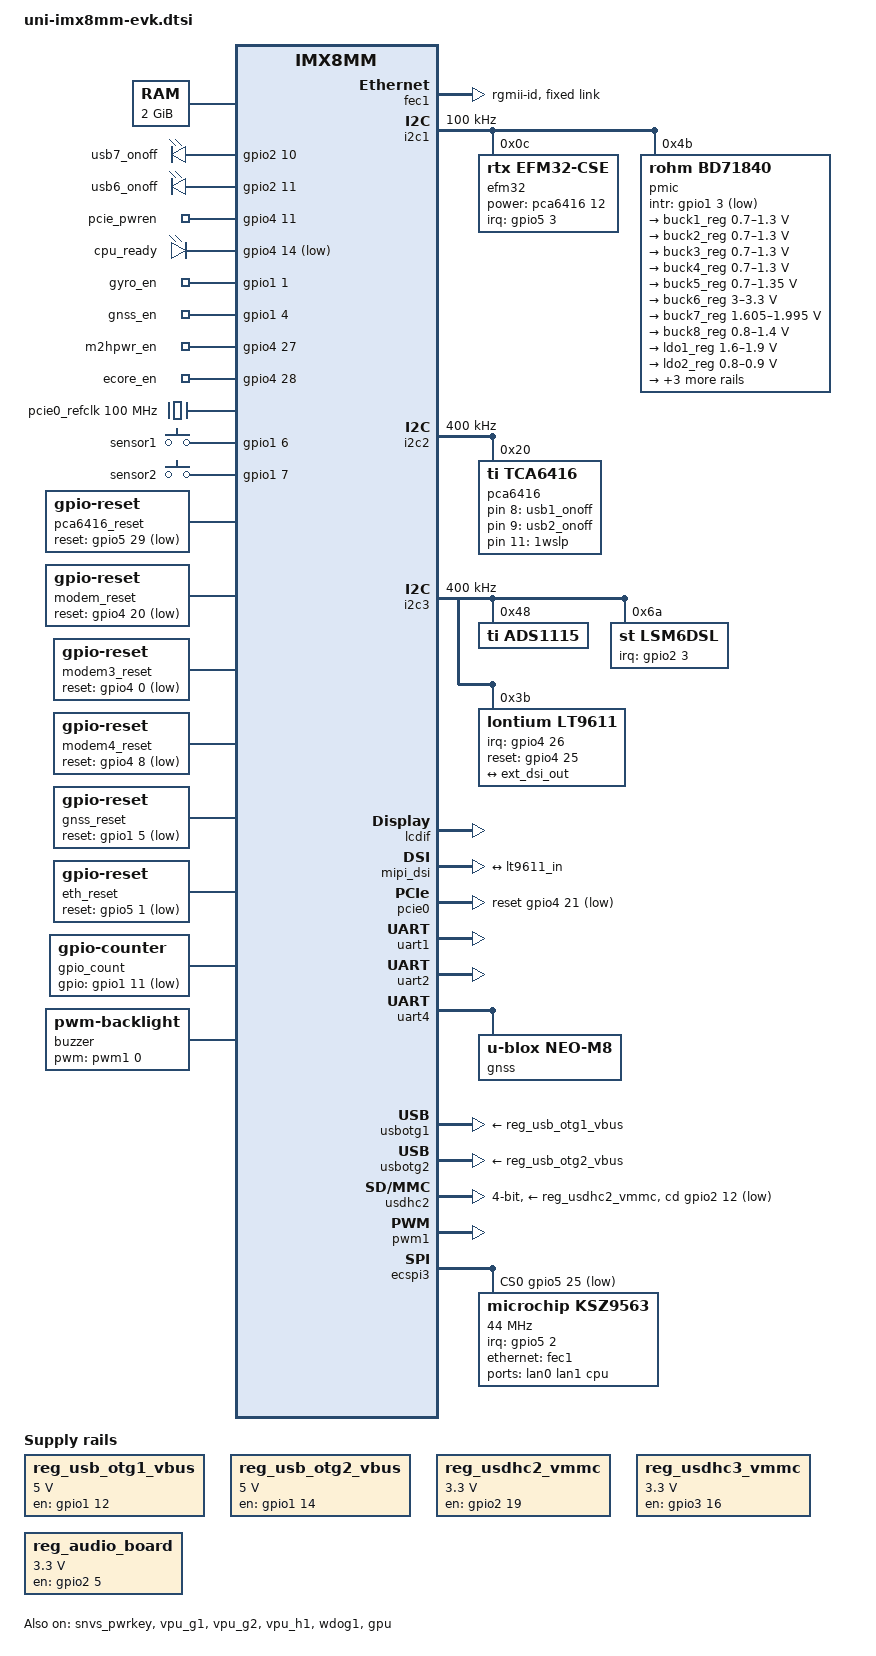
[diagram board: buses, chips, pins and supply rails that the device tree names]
// SPDX-License-Identifier: (GPL-2.0+ OR MIT)
/*
 * Copyright 2020 NXP
 */

/dts-v1/;

#include <dt-bindings/usb/pd.h>
#include "uni-imx8mm.dtsi"

/ {
	chosen {
		bootargs = "console=ttymxc1,115200 earlycon=ec_imx6q,0x30890000,115200";
		stdout-path = &uart2;
	};

	memory@40000000 {
		device_type = "memory";
		reg = <0x0 0x40000000 0 0x80000000>;
	};

	leds {
		compatible = "gpio-leds";
		pinctrl-names = "default";
		pinctrl-0 = <&pinctrl_gpio_led>;

		usb1_onoff {
			label = "usb1_onoff";
			gpios = <&pca6416 8 GPIO_ACTIVE_HIGH>;
			default-state = "on";
		};

		usb2_onoff {
			label = "usb2_onoff";
			gpios = <&pca6416 9 GPIO_ACTIVE_HIGH>;
			default-state = "on";
		};

		1wslp {
			label = "1wslp";
			gpios = <&pca6416 11 GPIO_ACTIVE_HIGH>;
			default-state = "on";
		};

		usb7_onoff {
			label = "usb7_onoff";
			gpios = <&gpio2 10 GPIO_ACTIVE_HIGH>;
			default-state = "on";
		};

		usb6_onoff {
			label = "usb6_onoff";
			gpios = <&gpio2 11 GPIO_ACTIVE_HIGH>;
			default-state = "on";
		};

		pcie_pwren {
			label = "pcie_pwren";
			gpios = <&gpio4 11 GPIO_ACTIVE_HIGH>;
			default-state = "on";
		};

		cpu_ready {
			label = "cpu_ready";
			gpios = <&gpio4 14 GPIO_ACTIVE_LOW>;
			default-state = "on";
		};

		gyro_en {
			label = "gyro_en";
			gpios = <&gpio1 1 GPIO_ACTIVE_HIGH>;
			default-state = "on";
		};

		gnss_en {
			label = "gnss_en";
			gpios = <&gpio1 4 GPIO_ACTIVE_HIGH>;
			default-state = "on";
		};

		m2hpwr_en {
			label = "m2hpwr_en";
			gpios = <&gpio4 27 GPIO_ACTIVE_HIGH>;
			default-state = "on";
		};

		ecore_en {
			label = "ecore_en";
			gpios = <&gpio4 28 GPIO_ACTIVE_HIGH>;
			default-state = "on";
		};
	};

	pcie0_refclk: pcie0-refclk {
		compatible = "fixed-clock";
		#clock-cells = <0>;
		clock-frequency = <100000000>;
	};

	wakeup_gpio1 {
		compatible = "gpio-keys";
		sensor1 {
			label = "sensor1";
			gpios = <&gpio1 6 GPIO_ACTIVE_HIGH>;
			linux,code = <KEY_POWER>;
			gpio-key,wakeup;
			linux,can-disable;
		};
	};

	wakeup_gpio2 {
		compatible = "gpio-keys";
		sensor2 {
			label = "sensor2";
			gpios = <&gpio1 7 GPIO_ACTIVE_HIGH>;
			linux,code = <KEY_POWER>;
			gpio-key,wakeup;
			linux,can-disable;
		};
	};

	pca6416_reset: pca6416-reset {
		compatible = "gpio-reset";
		reset-gpios = <&gpio5 29 GPIO_ACTIVE_LOW>;
		reset-delay-us = <2000>;
		reset-post-delay-ms = <40>;
		#reset-cells = <0>;
	};

	modem_reset: modem-reset {
		compatible = "gpio-reset";
		reset-gpios = <&gpio4 20 GPIO_ACTIVE_LOW>;
		reset-delay-us = <2000>;
		reset-post-delay-ms = <40>;
		#reset-cells = <0>;
	};

	modem3_reset: modem3-reset {
		compatible = "gpio-reset";
		reset-gpios = <&gpio4 0 GPIO_ACTIVE_LOW>;
		reset-delay-us = <2000>;
		reset-post-delay-ms = <40>;
		#reset-cells = <0>;
	};

	modem4_reset: modem4-reset {
		compatible = "gpio-reset";
		reset-gpios = <&gpio4 8 GPIO_ACTIVE_LOW>;
		reset-delay-us = <2000>;
		reset-post-delay-ms = <40>;
		#reset-cells = <0>;
	};

	gnss_reset: gnss-reset {
		compatible = "gpio-reset";
		reset-gpios = <&gpio1 5 GPIO_ACTIVE_LOW>;
		reset-delay-us = <2000>;
		reset-post-delay-ms = <40>;
		#reset-cells = <0>;
	};

	eth_reset: eth-reset {
		compatible = "gpio-reset";
		reset-gpios = <&gpio5 1 GPIO_ACTIVE_LOW>;
		reset-delay-us = <2000>;
		reset-post-delay-ms = <40>;
		#reset-cells = <0>;
	};

	regulators {
		compatible = "simple-bus";
		#address-cells = <1>;
		#size-cells = <0>;

		reg_usb_otg1_vbus: regulator@0 {
			compatible = "regulator-fixed";
			pinctrl-0 = <&pinctrl_usbotg1pwrgrp>;
			reg = <0>;
			regulator-name = "usb_otg1_vbus";
			regulator-min-microvolt = <5000000>;
			regulator-max-microvolt = <5000000>;
			gpio = <&gpio1 12 GPIO_ACTIVE_HIGH>;
			enable-active-high;
		};

		reg_usb_otg2_vbus: regulator@1 {
			compatible = "regulator-fixed";
			pinctrl-0 = <&pinctrl_usbotg2pwrgrp>;
			reg = <0>;
			regulator-name = "usb_otg2_vbus";
			regulator-min-microvolt = <5000000>;
			regulator-max-microvolt = <5000000>;
			gpio = <&gpio1 14 GPIO_ACTIVE_HIGH>;
			enable-active-high;
		};

		reg_usdhc2_vmmc: regulator-usdhc2 {
			compatible = "regulator-fixed";
			regulator-name = "VSD_3V3";
			regulator-min-microvolt = <3300000>;
			regulator-max-microvolt = <3300000>;
			gpio = <&gpio2 19 GPIO_ACTIVE_HIGH>;
			off-on-delay = <20000>;
			enable-active-high;
		};

		reg_usdhc3_vmmc: regulator-usdhc3 {
			compatible = "regulator-fixed";
			regulator-name = "VSD_3V3";
			regulator-min-microvolt = <3300000>;
			regulator-max-microvolt = <3300000>;
			gpio = <&gpio3 16 GPIO_ACTIVE_HIGH>;
			off-on-delay = <20000>;
			enable-active-high;
		};

		reg_audio_board: regulator-audio-board {
			compatible = "regulator-fixed";
			regulator-name = "EXT_PWREN";
			regulator-min-microvolt = <3300000>;
			regulator-max-microvolt = <3300000>;
			enable-active-high;
			startup-delay-us = <300000>;
			gpio = <&gpio2 5 GPIO_ACTIVE_HIGH>;
		};
	};

	gpio_count: counter {
		compatible = "gpio-counter";
		gpios = <&gpio1 11 GPIO_ACTIVE_LOW>;
		debounce-delay-us = <100>;
		/*pinctrl-0 = <&pinctrl_gpio_count>;*/
	};

	sound-micfil {
		compatible = "fsl,imx-audio-micfil";
		model = "imx-audio-micfil";
		cpu-dai = <&micfil>;
	};

	buzzer {
		compatible = "pwm-backlight";
		pwms = <&pwm1 0 366300>;
		brightness-levels = <0 128 255>;
		default-brightness-level = <0>;
	};
};

&A53_0 {
	cpu-supply = <&buck2_reg>;
};

&A53_1 {
	cpu-supply = <&buck2_reg>;
};

&A53_2 {
	cpu-supply = <&buck2_reg>;
};

&A53_3 {
	cpu-supply = <&buck2_reg>;
};

&fec1 {
	pinctrl-names = "default";
	pinctrl-0 = <&pinctrl_fec1>;
	phy-mode = "rgmii-id";
	fsl,magic-packet;
	status = "okay";

	fixed-link {
		speed = <1000>;
		full-duplex;
	};
};

&i2c1 {
	clock-frequency = <100000>;
	pinctrl-names = "default";
	pinctrl-0 = <&pinctrl_i2c1>;
	status = "okay";

	efm32: rtx-efm32@c {
		compatible = "rtx,efm32-cse";
		pinctrl-names = "default";
		pinctrl-0 = <&pinctrl_efm32>;
		reg = <0x0c>;
  		interrupt-parent = <&gpio5>;
  		interrupts = <3 IRQ_TYPE_EDGE_RISING>;
		gpio-power = <&pca6416 12 GPIO_ACTIVE_HIGH>;
	};

	pmic: bd71837@4b {
		reg = <0x4b>;
		compatible = "rohm,bd71840", "rohm,bd71837";
		/* PMIC BD71837 PMIC_nINT GPIO1_IO3 */
		pinctrl-0 = <&pinctrl_pmic>;
		gpio_intr = <&gpio1 3 GPIO_ACTIVE_LOW>;

		gpo {
			rohm,drv = <0x0C>;	/* 0b0000_1100 all gpos with cmos output mode */
		};

		regulators {
			#address-cells = <1>;
			#size-cells = <0>;

			bd71837,pmic-buck2-uses-i2c-dvs;
			bd71837,pmic-buck2-dvs-voltage = <1000000>, <900000>, <0>; /* VDD_ARM: Run-Idle */

			buck1_reg: regulator@0 {
				reg = <0>;
				regulator-compatible = "buck1";
				regulator-min-microvolt = <700000>;
				regulator-max-microvolt = <1300000>;
				regulator-boot-on;
				regulator-always-on;
				regulator-ramp-delay = <1250>;
			};

			buck2_reg: regulator@1 {
				reg = <1>;
				regulator-compatible = "buck2";
				regulator-min-microvolt = <700000>;
				regulator-max-microvolt = <1300000>;
				regulator-boot-on;
				regulator-always-on;
				regulator-ramp-delay = <1250>;
			};

			buck3_reg: regulator@2 {
				reg = <2>;
				regulator-compatible = "buck3";
				regulator-min-microvolt = <700000>;
				regulator-max-microvolt = <1300000>;
			};

			buck4_reg: regulator@3 {
				reg = <3>;
				regulator-compatible = "buck4";
				regulator-min-microvolt = <700000>;
				regulator-max-microvolt = <1300000>;
			};

			buck5_reg: regulator@4 {
				reg = <4>;
				regulator-compatible = "buck5";
				regulator-min-microvolt = <700000>;
				regulator-max-microvolt = <1350000>;
				regulator-boot-on;
				regulator-always-on;
			};

			buck6_reg: regulator@5 {
				reg = <5>;
				regulator-compatible = "buck6";
				regulator-min-microvolt = <3000000>;
				regulator-max-microvolt = <3300000>;
				regulator-boot-on;
				regulator-always-on;
			};

			buck7_reg: regulator@6 {
				reg = <6>;
				regulator-compatible = "buck7";
				regulator-min-microvolt = <1605000>;
				regulator-max-microvolt = <1995000>;
				regulator-boot-on;
				regulator-always-on;
			};

			buck8_reg: regulator@7 {
				reg = <7>;
				regulator-compatible = "buck8";
				regulator-min-microvolt = <800000>;
				regulator-max-microvolt = <1400000>;
				regulator-boot-on;
				regulator-always-on;
			};

			ldo1_reg: regulator@8 {
				reg = <8>;
				regulator-compatible = "ldo1";
				regulator-min-microvolt = <1600000>;
				regulator-max-microvolt = <1900000>;
				regulator-boot-on;
				regulator-always-on;
			};

			ldo2_reg: regulator@9 {
				reg = <9>;
				regulator-compatible = "ldo2";
				regulator-min-microvolt = <800000>;
				regulator-max-microvolt = <900000>;
				regulator-boot-on;
				regulator-always-on;
			};

			ldo3_reg: regulator@10 {
				reg = <10>;
				regulator-compatible = "ldo3";
				regulator-min-microvolt = <1800000>;
				regulator-max-microvolt = <3300000>;
				regulator-boot-on;
				regulator-always-on;
			};

			ldo4_reg: regulator@11 {
				reg = <11>;
				regulator-compatible = "ldo4";
				regulator-min-microvolt = <900000>;
				regulator-max-microvolt = <1800000>;
				regulator-boot-on;
				regulator-always-on;
			};

			ldo6_reg: regulator@13 {
				reg = <13>;
				regulator-compatible = "ldo6";
				regulator-min-microvolt = <900000>;
				regulator-max-microvolt = <1800000>;
				regulator-boot-on;
				regulator-always-on;
			};
		};
	};
};

&i2c2 {
	clock-frequency = <400000>;
	pinctrl-names = "default";
	pinctrl-0 = <&pinctrl_i2c2>;
	status = "okay";

	pca6416: gpio@20 {
		compatible = "ti,tca6416";
		pinctrl-0 = <&pinctrl_pca6416>;
		reg = <0x20>;
		gpio-controller;
		#gpio-cells = <2>;
	};
/*
	i2c_ksz9563: ksz9563@5f {
		compatible = "microchip,ksz9563";
		reg = <0x5f>;
		phy-mode = "rgmii-id";

		interrupt-parent = <&gpio5>;
		interrupts = <2 IRQ_TYPE_LEVEL_LOW>;
		status = "okay";
		ports {
			#address-cells = <1>;
			#size-cells = <0>;
			port@0 {
				reg = <0>;
				label = "lan0";
			};
			port@1 {
				reg = <1>;
				label = "lan1";
			};
			port@2 {
				reg = <2>;
				label = "cpu";
				ethernet = <&fec1>;
				fixed-link {
					speed = <1000>;
					full-duplex;
				};
			};
		};
	};
*/
};

&i2c3 {
	clock-frequency = <400000>;
	pinctrl-names = "default";
	pinctrl-0 = <&pinctrl_i2c3>;
	status = "okay";

	ads1115: ads1115@48 {
		compatible = "ti,ads1115";
		pinctrl-names = "default";
		pinctrl-0 = <&pinctrl_ads1115>;
		reg = <0x48>;
		#address-cells = <1>;
		#size-cells = <0>;

		channel@0 {
			reg = <0>;
			ti,gain = <2>;
			ti,datarate = <2>;
                };
		channel@1 {
			reg = <1>;
			ti,gain = <2>;
			ti,datarate = <2>;
		};                
		channel@2 {
			reg = <2>;
			ti,gain = <2>;
			ti,datarate = <2>;
		};     
		channel@3 {
			reg = <3>;
 			ti,gain = <2>;
			ti,datarate = <2>;
		};  
	};

  	lsm6dsl@6a {
  		compatible = "st,lsm6dsl";
		pinctrl-names = "default";
		pinctrl-0 = <&pinctrl_gyro>;
  		reg = <0x6a>;
  		interrupt-parent = <&gpio2>;
  		interrupts = <3 IRQ_TYPE_EDGE_RISING>;
 	};

	lt9611: lt,lt9611@3b {
		compatible = "lontium,lt9611";
		pinctrl-names = "default";
		pinctrl-0 = <&pinctrl_lt9611>;
		reg = <0x3b>;
		interrupt-parent = <&gpio4>;
		interrupts = <26 IRQ_TYPE_LEVEL_LOW>;
		instance_id = <0>;

		lt,irq-gpio = <&gpio4 26 0x0>;
		lt,reset-gpio = <&gpio4 25 0x0>;
		lt,non-pluggable;
		lt,preferred-mode = "1920x1080";

		lt,customize-modes {
			lt,customize-mode-id@0 {
				lt,mode-h-active = <1920>;
				lt,mode-h-front-porch = <88>;
				lt,mode-h-pulse-width = <44>;
				lt,mode-h-back-porch = <148>;
				lt,mode-h-active-high;
				lt,mode-v-active = <1080>;
				lt,mode-v-front-porch = <4>;
				lt,mode-v-pulse-width = <5>;
				lt,mode-v-back-porch = <36>;
				lt,mode-v-active-high;
				lt,mode-refresh-rate = <60>;
				lt,mode-clock-in-khz = <148500>;
			};
		};

		port@1 {
			lt9611_in: endpoint {
				remote-endpoint = <&ext_dsi_out>;
			};
		};

	};

};

&lcdif {
       status = "okay";
};

&micfil {
	pinctrl-names = "default";
	pinctrl-0 = <&pinctrl_pdm>;
	status = "disable";
};

&mipi_dsi {
	status = "okay";

	port@1 {
		ext_dsi_out: endpoint {
			remote-endpoint = <&lt9611_in>;
		};
	};
};

&pcie0{
	pinctrl-names = "default";
	pinctrl-0 = <&pinctrl_pcie0>;
	disable-gpio = <&gpio1 5 GPIO_ACTIVE_LOW>;
	reset-gpio = <&gpio4 21 GPIO_ACTIVE_LOW>;
	clocks = <&clk IMX8MM_CLK_PCIE1_ROOT>,
		 <&clk IMX8MM_CLK_PCIE1_AUX>,
		 <&clk IMX8MM_CLK_PCIE1_PHY>,
		 <&pcie0_refclk>;
	clock-names = "pcie", "pcie_aux", "pcie_phy", "pcie_bus";
	assigned-clocks = <&clk IMX8MM_CLK_PCIE1_AUX>,
			  <&clk IMX8MM_CLK_PCIE1_PHY>,
			  <&clk IMX8MM_CLK_PCIE1_CTRL>;
	assigned-clock-rates = <10000000>, <100000000>, <250000000>;
	assigned-clock-parents = <&clk IMX8MM_SYS_PLL2_50M>,
				 <&clk IMX8MM_SYS_PLL2_100M>,
				 <&clk IMX8MM_SYS_PLL2_250M>;
	ext_osc = <1>;
	status = "okay";
};

&sai5 {
	pinctrl-names = "default";
	pinctrl-0 = <&pinctrl_sai5>;
	clocks = <&clk IMX8MM_CLK_SAI5_IPG>, <&clk IMX8MM_CLK_DUMMY>,
		<&clk IMX8MM_CLK_SAI5_ROOT>, <&clk IMX8MM_CLK_DUMMY>,
		<&clk IMX8MM_CLK_DUMMY>, <&clk IMX8MM_AUDIO_PLL1_OUT>,
		<&clk IMX8MM_AUDIO_PLL2_OUT>;
	clock-names = "bus", "mclk0", "mclk1", "mclk2", "mclk3", "pll8k", "pll11k";
	fsl,sai-asynchronous;
	status = "disabled";
};

&snvs_pwrkey {
	status = "okay";
};

&uart1 {
	pinctrl-names = "default", "rs422";
	pinctrl-0 = <&pinctrl_uart1_rs232 &pinctrl_uart1_ctrl>;
	pinctrl-1 = <&pinctrl_uart1_rs422 &pinctrl_uart1_ctrl>;
	resets = <&modem_reset>;
/*    	fsl,dte-mode;	*/
	fsl,uart-has-rtscts;
	fsl,sp339e;
	fsl,sp339e-m0     = <&gpio4 4 0> ;
	fsl,sp339e-m1     = <&gpio4 5 0> ;
	fsl,sp339e-tm     = <&gpio4 10 0> ;
	fsl,sp339e-dir    = <&gpio4 24 0> ;
	status = "okay";
};

&uart2 { /* console */
	pinctrl-names = "default";
	pinctrl-0 = <&pinctrl_uart2>;
	status = "okay";
};

&uart4 {
	pinctrl-names = "default";
	pinctrl-0 = <&pinctrl_uart4_rs232>;
	status = "okay";
	/*resets = <&gnss_reset>;*/
	gnss {
		compatible = "u-blox,neo-m8";
		current-speed = <9600>;
/*		ubx_data,green_led = <&pca6416 4 GPIO_ACTIVE_HIGH>;
		ubx_data,red_led = <&pca6416 5 GPIO_ACTIVE_HIGH>;*/
	};
};


&usbotg1 {
	vbus-supply = <&reg_usb_otg1_vbus>;
	srp-disable;
	hnp-disable;
	adp-disable;
	power-polarity-active-high;
	disable-over-current;
	status = "okay";
};

&usbotg2 {
	vbus-supply = <&reg_usb_otg2_vbus>;
	srp-disable;
	hnp-disable;
	adp-disable;
	power-polarity-active-high;
	disable-over-current;
	status = "okay";
};

&usdhc2 {
	pinctrl-names = "default", "state_100mhz", "state_200mhz";
	pinctrl-0 = <&pinctrl_usdhc2>, <&pinctrl_usdhc2_gpio>;
	pinctrl-1 = <&pinctrl_usdhc2_100mhz>, <&pinctrl_usdhc2_gpio>;
	pinctrl-2 = <&pinctrl_usdhc2_200mhz>, <&pinctrl_usdhc2_gpio>;
	cd-gpios = <&gpio2 12 GPIO_ACTIVE_LOW>;
	bus-width = <4>;
	vmmc-supply = <&reg_usdhc2_vmmc>;
	status = "okay";
};

&vpu_g1 {
	status = "okay";
};

&vpu_g2 {
	status = "okay";
};

&vpu_h1 {
	status = "okay";
};

&pwm1 {
	pinctrl-names = "default";
	pinctrl-0 = <&pinctrl_buzzer_pwm1>;
	status = "okay";
};

&wdog1 {
	pinctrl-names = "default";
	pinctrl-0 = <&pinctrl_wdog>;
	fsl,ext-reset-output;
	status = "okay";
};

&gpu {
	status = "okay";
};

&iomuxc {
	pinctrl_csi_pwn: csi_pwn_grp {
		fsl,pins = <
			MX8MM_IOMUXC_GPIO1_IO07_GPIO1_IO7		0x19
		>;
	};

	pinctrl_csi_rst: csi_rst_grp {
		fsl,pins = <
			MX8MM_IOMUXC_GPIO1_IO06_GPIO1_IO6		0x19
			MX8MM_IOMUXC_GPIO1_IO14_CCMSRCGPCMIX_CLKO1	0x59
		>;
	};

	pinctrl_fec1: fec1grp {
		fsl,pins = <
				MX8MM_IOMUXC_ENET_MDC_ENET1_MDC		0x3
				MX8MM_IOMUXC_ENET_MDIO_ENET1_MDIO	0x3
				MX8MM_IOMUXC_ENET_TD3_ENET1_RGMII_TD3	0x1f
				MX8MM_IOMUXC_ENET_TD2_ENET1_RGMII_TD2	0x1f
				MX8MM_IOMUXC_ENET_TD1_ENET1_RGMII_TD1	0x1f
				MX8MM_IOMUXC_ENET_TD0_ENET1_RGMII_TD0	0x1f
				MX8MM_IOMUXC_ENET_RD3_ENET1_RGMII_RD3	0x91
				MX8MM_IOMUXC_ENET_RD2_ENET1_RGMII_RD2	0x91
				MX8MM_IOMUXC_ENET_RD1_ENET1_RGMII_RD1	0x91
				MX8MM_IOMUXC_ENET_RD0_ENET1_RGMII_RD0	0x91
				MX8MM_IOMUXC_ENET_TXC_ENET1_RGMII_TXC	0x1f
				MX8MM_IOMUXC_ENET_RXC_ENET1_RGMII_RXC	0x91
				MX8MM_IOMUXC_ENET_RX_CTL_ENET1_RGMII_RX_CTL	0x91
				MX8MM_IOMUXC_ENET_TX_CTL_ENET1_RGMII_TX_CTL	0x1f
				MX8MM_IOMUXC_SAI3_RXFS_GPIO4_IO28	0x19
				MX8MM_IOMUXC_SAI3_MCLK_GPIO5_IO2	0x19
				MX8MM_IOMUXC_SAI3_TXD_GPIO5_IO1		0x19
				
				MX8MM_IOMUXC_SD1_CLK_GPIO2_IO0		0x19
				MX8MM_IOMUXC_SD1_CMD_GPIO2_IO1 		0x19

				MX8MM_IOMUXC_SAI1_RXC_GPIO4_IO1		0x19	/* GPIO */
				MX8MM_IOMUXC_SAI1_RXFS_GPIO4_IO0	0x19	/* GPIO */
				MX8MM_IOMUXC_SAI1_RXD0_GPIO4_IO2	0x19	/* GPIO */
				MX8MM_IOMUXC_SAI1_RXD1_GPIO4_IO3	0x19	/* GPIO */
		>;
	};

	pinctrl_ecspi3: ecspi3grp {
		fsl,pins = <
			MX8MM_IOMUXC_UART1_RXD_ECSPI3_SCLK		0x82
			MX8MM_IOMUXC_UART1_TXD_ECSPI3_MOSI		0x82
			MX8MM_IOMUXC_UART2_RXD_ECSPI3_MISO 		0x82
		>;
	};

	pinctrl_ecspi3_cs: ecspi1cs {
		fsl,pins = <
			MX8MM_IOMUXC_UART2_TXD_GPIO5_IO25		0x19
		>;
	};

	pinctrl_gpio_led: gpioledgrp {
		fsl,pins = <
		>;
	};

	pinctrl_i2c1: i2c1grp {
		fsl,pins = <
			MX8MM_IOMUXC_I2C1_SCL_I2C1_SCL			0x400001c3
			MX8MM_IOMUXC_I2C1_SDA_I2C1_SDA			0x400001c3
		>;
	};

	pinctrl_i2c2: i2c2grp {
		fsl,pins = <
			MX8MM_IOMUXC_I2C2_SCL_I2C2_SCL			0x400001c3
			MX8MM_IOMUXC_I2C2_SDA_I2C2_SDA			0x400001c3
		>;
	};

	pinctrl_i2c3: i2c3grp {
		fsl,pins = <
			MX8MM_IOMUXC_I2C3_SCL_I2C3_SCL			0x400001c3
			MX8MM_IOMUXC_I2C3_SDA_I2C3_SDA			0x400001c3
		>;
	};

	pinctrl_pcie0: pcie0grp {
		fsl,pins = <
			MX8MM_IOMUXC_I2C4_SCL_PCIE1_CLKREQ_B	0x61 /* open drain, pull up */
			MX8MM_IOMUXC_SAI1_TXC_GPIO4_IO11	0x19
			MX8MM_IOMUXC_SAI1_TXD0_GPIO4_IO12	0x19
			MX8MM_IOMUXC_SAI1_TXD1_GPIO4_IO13	0x19
			MX8MM_IOMUXC_SAI1_TXD3_GPIO4_IO15	0x41
			MX8MM_IOMUXC_SAI1_TXD4_GPIO4_IO16	0x41
			MX8MM_IOMUXC_SAI1_TXD5_GPIO4_IO17	0x41
			MX8MM_IOMUXC_SAI1_TXD6_GPIO4_IO18	0x41
			MX8MM_IOMUXC_SAI1_TXD7_GPIO4_IO19	0x41
		>;
	};

	pinctrl_pdm: pdmgrp {
		fsl,pins = <
			MX8MM_IOMUXC_SAI5_MCLK_SAI5_MCLK	0xd6
			MX8MM_IOMUXC_SAI5_RXC_PDM_CLK		0xd6
			MX8MM_IOMUXC_SAI5_RXFS_SAI5_RX_SYNC	0xd6
			MX8MM_IOMUXC_SAI5_RXD0_PDM_DATA0	0xd6
			MX8MM_IOMUXC_SAI5_RXD1_PDM_DATA1	0xd6
			MX8MM_IOMUXC_SAI5_RXD2_PDM_DATA2	0xd6
			MX8MM_IOMUXC_SAI5_RXD3_PDM_DATA3	0xd6
		>;
	};

	pinctrl_pmic: pmicirqgrp {
		fsl,pins = <
			MX8MM_IOMUXC_GPIO1_IO03_GPIO1_IO3		0x141
		>;
	};

	pinctrl_sai1: sai1grp {
		fsl,pins = <
			MX8MM_IOMUXC_SAI1_MCLK_SAI1_MCLK	0xd6
			MX8MM_IOMUXC_SAI1_TXFS_SAI1_TX_SYNC	0xd6
			MX8MM_IOMUXC_SAI1_RXD7_SAI1_TX_SYNC	0xd6
			MX8MM_IOMUXC_SAI1_TXC_SAI1_TX_BCLK	0xd6
			MX8MM_IOMUXC_SAI1_TXD0_SAI1_TX_DATA0	0xd6
			MX8MM_IOMUXC_SAI1_TXD1_SAI1_TX_DATA1	0xd6
			MX8MM_IOMUXC_SAI1_TXD2_SAI1_TX_DATA2	0xd6
			MX8MM_IOMUXC_SAI1_TXD3_SAI1_TX_DATA3	0xd6
			MX8MM_IOMUXC_SAI1_TXD4_SAI1_TX_DATA4	0xd6
			MX8MM_IOMUXC_SAI1_TXD5_SAI1_TX_DATA5	0xd6
			MX8MM_IOMUXC_SAI1_TXD6_SAI1_TX_DATA6	0xd6
			MX8MM_IOMUXC_SAI1_TXD7_SAI1_TX_DATA7	0xd6
		>;
	};

	pinctrl_sai1_dsd: sai1grp_dsd {
		fsl,pins = <
			MX8MM_IOMUXC_SAI1_MCLK_SAI1_MCLK	0xd6
			MX8MM_IOMUXC_SAI1_TXFS_SAI1_TX_SYNC	0xd6
			MX8MM_IOMUXC_SAI1_RXD7_SAI1_TX_DATA4	0xd6
			MX8MM_IOMUXC_SAI1_TXC_SAI1_TX_BCLK	0xd6
			MX8MM_IOMUXC_SAI1_TXD0_SAI1_TX_DATA0	0xd6
			MX8MM_IOMUXC_SAI1_TXD1_SAI1_TX_DATA1	0xd6
			MX8MM_IOMUXC_SAI1_TXD2_SAI1_TX_DATA2	0xd6
			MX8MM_IOMUXC_SAI1_TXD3_SAI1_TX_DATA3	0xd6
			MX8MM_IOMUXC_SAI1_TXD4_SAI1_TX_DATA4	0xd6
			MX8MM_IOMUXC_SAI1_TXD5_SAI1_TX_DATA5	0xd6
			MX8MM_IOMUXC_SAI1_TXD6_SAI1_TX_DATA6	0xd6
			MX8MM_IOMUXC_SAI1_TXD7_SAI1_TX_DATA7	0xd6
		>;
	};

	pinctrl_sai2: sai2grp {
		fsl,pins = <
			MX8MM_IOMUXC_SAI2_TXC_SAI2_TX_BCLK      0xd6
			MX8MM_IOMUXC_SAI2_TXFS_SAI2_TX_SYNC     0xd6
			MX8MM_IOMUXC_SAI2_TXD0_SAI2_TX_DATA0    0xd6
			MX8MM_IOMUXC_SAI2_RXD0_SAI2_RX_DATA0    0xd6
		>;
	};

	pinctrl_sai3: sai3grp {
		fsl,pins = <
			MX8MM_IOMUXC_SAI3_TXFS_SAI3_TX_SYNC     0xd6
			MX8MM_IOMUXC_SAI3_TXC_SAI3_TX_BCLK      0xd6
			MX8MM_IOMUXC_SAI3_MCLK_SAI3_MCLK        0xd6
			MX8MM_IOMUXC_SAI3_TXD_SAI3_TX_DATA0     0xd6
		>;
	};

	pinctrl_sai5: sai5grp {
		fsl,pins = <
			MX8MM_IOMUXC_SAI5_MCLK_SAI5_MCLK	0xd6
			MX8MM_IOMUXC_SAI5_RXC_SAI5_RX_BCLK	0xd6
			MX8MM_IOMUXC_SAI5_RXFS_SAI5_RX_SYNC	0xd6
			MX8MM_IOMUXC_SAI5_RXD0_SAI5_RX_DATA0	0xd6
			MX8MM_IOMUXC_SAI5_RXD1_SAI5_RX_DATA1    0xd6
			MX8MM_IOMUXC_SAI5_RXD2_SAI5_RX_DATA2    0xd6
			MX8MM_IOMUXC_SAI5_RXD3_SAI5_RX_DATA3    0xd6
		>;
	};

	pinctrl_uart1_rs232: uart1grp1 {
		fsl,pins = <
			MX8MM_IOMUXC_SAI2_RXFS_UART1_DCE_TX	0x140
			MX8MM_IOMUXC_SAI2_RXC_UART1_DCE_RX	0x140
			MX8MM_IOMUXC_SAI2_TXFS_UART1_DCE_CTS_B	0x140
			MX8MM_IOMUXC_SAI2_RXD0_UART1_DCE_RTS_B	0x140
		>;
	};

	pinctrl_uart1_rs422: uart1grp2 {
		fsl,pins = <
			MX8MM_IOMUXC_SAI2_RXFS_UART1_DCE_TX	0x140
			MX8MM_IOMUXC_SAI2_RXC_UART1_DCE_RX	0x140
			MX8MM_IOMUXC_SAI2_TXFS_GPIO4_IO24	0x19
			MX8MM_IOMUXC_SAI2_RXD0_UART1_DCE_RTS_B	0x140
		>;
	};

	pinctrl_uart1_ctrl: uart1-ctrlgrp2 {
		fsl,pins = <
			MX8MM_IOMUXC_SAI1_RXD2_GPIO4_IO4	0x19	/* UART1_M0 */
			MX8MM_IOMUXC_SAI1_RXD3_GPIO4_IO5	0x19	/* UART1_M1 */
			MX8MM_IOMUXC_SAI1_TXFS_GPIO4_IO10	0x19	/* UART1_TM */
			MX8MM_IOMUXC_SAI1_MCLK_GPIO4_IO20	0x19	/* 3234_EN  */
		>;
	};

	pinctrl_uart2: uart2grp {
		fsl,pins = <
			MX8MM_IOMUXC_SAI3_TXC_UART2_DCE_TX	0x140
			MX8MM_IOMUXC_SAI3_TXFS_UART2_DCE_RX	0x140
			MX8MM_IOMUXC_SAI3_RXC_UART2_DCE_RTS_B	0x140
			MX8MM_IOMUXC_SAI3_RXD_UART2_DCE_CTS_B	0x140
		>;
	};

	pinctrl_uart4_rs232: uart4grp1 {
		fsl,pins = <
			MX8MM_IOMUXC_ECSPI2_SCLK_UART4_DCE_RX		0x140
			MX8MM_IOMUXC_ECSPI2_MOSI_UART4_DCE_TX		0x140
			MX8MM_IOMUXC_ECSPI2_MISO_UART4_DCE_CTS_B	0x140
			MX8MM_IOMUXC_ECSPI2_SS0_UART4_DCE_RTS_B		0x140
		>;
	};

	pinctrl_uart4_rs422: uart4grp2 {
		fsl,pins = <
			MX8MM_IOMUXC_ECSPI2_SCLK_UART4_DCE_RX		0x140
			MX8MM_IOMUXC_ECSPI2_MOSI_UART4_DCE_TX		0x140
			MX8MM_IOMUXC_ECSPI2_MISO_UART4_DCE_CTS_B	0x140
			MX8MM_IOMUXC_ECSPI2_SS0_GPIO5_IO13		0x19
		>;
	};

		pinctrl_usdhc2_gpio: usdhc2grpgpio {
			fsl,pins = <
				MX8MM_IOMUXC_SD2_CD_B_GPIO2_IO12	0x1c4
				MX8MM_IOMUXC_SD2_RESET_B_GPIO2_IO19	0x41
			>;
		};

	pinctrl_usdhc2: usdhc2grp {
		fsl,pins = <
			MX8MM_IOMUXC_SD2_CLK_USDHC2_CLK		0x190
			MX8MM_IOMUXC_SD2_CMD_USDHC2_CMD		0x1d0
			MX8MM_IOMUXC_SD2_DATA0_USDHC2_DATA0	0x1d0
			MX8MM_IOMUXC_SD2_DATA1_USDHC2_DATA1	0x1d0
			MX8MM_IOMUXC_SD2_DATA2_USDHC2_DATA2	0x1d0
			MX8MM_IOMUXC_SD2_DATA3_USDHC2_DATA3	0x1d0
			MX8MM_IOMUXC_GPIO1_IO04_USDHC2_VSELECT	0x1d0
		>;
	};

	pinctrl_usdhc2_100mhz: usdhc2-100mhzgrp {
		fsl,pins = <
			MX8MM_IOMUXC_SD2_CLK_USDHC2_CLK		0x194
			MX8MM_IOMUXC_SD2_CMD_USDHC2_CMD		0x1d4
			MX8MM_IOMUXC_SD2_DATA0_USDHC2_DATA0	0x1d4
			MX8MM_IOMUXC_SD2_DATA1_USDHC2_DATA1	0x1d4
			MX8MM_IOMUXC_SD2_DATA2_USDHC2_DATA2	0x1d4
			MX8MM_IOMUXC_SD2_DATA3_USDHC2_DATA3	0x1d4
			MX8MM_IOMUXC_GPIO1_IO04_USDHC2_VSELECT	0x1d0
		>;
	};

	pinctrl_usdhc2_200mhz: usdhc2-200mhzgrp {
		fsl,pins = <
			MX8MM_IOMUXC_SD2_CLK_USDHC2_CLK		0x196
			MX8MM_IOMUXC_SD2_CMD_USDHC2_CMD		0x1d6
			MX8MM_IOMUXC_SD2_DATA0_USDHC2_DATA0	0x1d6
			MX8MM_IOMUXC_SD2_DATA1_USDHC2_DATA1	0x1d6
			MX8MM_IOMUXC_SD2_DATA2_USDHC2_DATA2	0x1d6
			MX8MM_IOMUXC_SD2_DATA3_USDHC2_DATA3	0x1d6
			MX8MM_IOMUXC_GPIO1_IO04_USDHC2_VSELECT	0x1d0
		>;
	};

        pinctrl_usbotg1pwrgrp: usbotg1pwrgrp {
                fsl,pins = <
                        MX8MM_IOMUXC_GPIO1_IO12_GPIO1_IO12      	0x00
                >;
        };

        pinctrl_usbotg2pwrgrp: usbotg2pwrgrp {
                fsl,pins = <
                        MX8MM_IOMUXC_GPIO1_IO14_GPIO1_IO14      	0x00
                >;
        };

	pinctrl_buzzer_pwm1: buzzerpwm1grp {
		fsl,pins = <
			MX8MM_IOMUXC_SPDIF_EXT_CLK_PWM1_OUT	0x16
			MX8MM_IOMUXC_SPDIF_RX_PWM2_OUT		0x16
		>;
	};

	pinctrl_wdog: wdoggrp {
		fsl,pins = <
			MX8MM_IOMUXC_GPIO1_IO02_WDOG1_WDOG_B		0xc6
		>;
	};

	pinctrl_efm32: efm32 {
		fsl,pins = <
			MX8MM_IOMUXC_SPDIF_TX_GPIO5_IO3		0x19
		>;
	};

	pinctrl_lt9611: lt9611 {
		fsl,pins = <
			MX8MM_IOMUXC_SAI2_MCLK_GPIO4_IO27		0x19
			MX8MM_IOMUXC_SAI2_TXD0_GPIO4_IO26		0x19
			MX8MM_IOMUXC_SAI2_TXC_GPIO4_IO25		0x19
		>;
	};

	pinctrl_gyro: gyro {
		fsl,pins = <
			MX8MM_IOMUXC_SD1_DATA1_GPIO2_IO3		0x19
			MX8MM_IOMUXC_GPIO1_IO01_GPIO1_IO1		0x19
		>;
	};

	pinctrl_ads1115: ads1115 {
		fsl,pins = <
			MX8MM_IOMUXC_SD1_DATA0_GPIO2_IO2		0x19
		>;
	};

	pinctrl_pca6416: pca6416 {
		fsl,pins = <
			MX8MM_IOMUXC_UART4_RXD_GPIO5_IO28		0x19
			MX8MM_IOMUXC_UART4_TXD_GPIO5_IO29		0x19
		>;
	};
};

&ecspi3	{
	#address-cells = <1>;
	#size-cells = <0>;
	fsl,spi-num-chipselects = <1>;
	pinctrl-names = "default";
	pinctrl-0 = <&pinctrl_ecspi3 &pinctrl_ecspi3_cs>;
	cs-gpios = <&gpio5 25 GPIO_ACTIVE_LOW>;
	status = "okay";

	ksz9563: ksz9563@0 {
		compatible = "microchip,ksz9563";
		reg = <0>;
		phy-mode = "rgmii-id";

		spi-max-frequency = <44000000>;
		spi-cpha;
		spi-cpol;
		interrupt-parent = <&gpio5>;
		interrupts = <2 IRQ_TYPE_LEVEL_LOW>;
		status = "okay";
		ports {
			#address-cells = <1>;
			#size-cells = <0>;
			port@0 {
				reg = <0>;
				label = "lan0";
			};
			port@1 {
				reg = <1>;
				label = "lan1";
			};
			port@2 {
				reg = <2>;
				label = "cpu";
				ethernet = <&fec1>;
				fixed-link {
					speed = <1000>;
					full-duplex;
				};
			};
		};
	};
};
